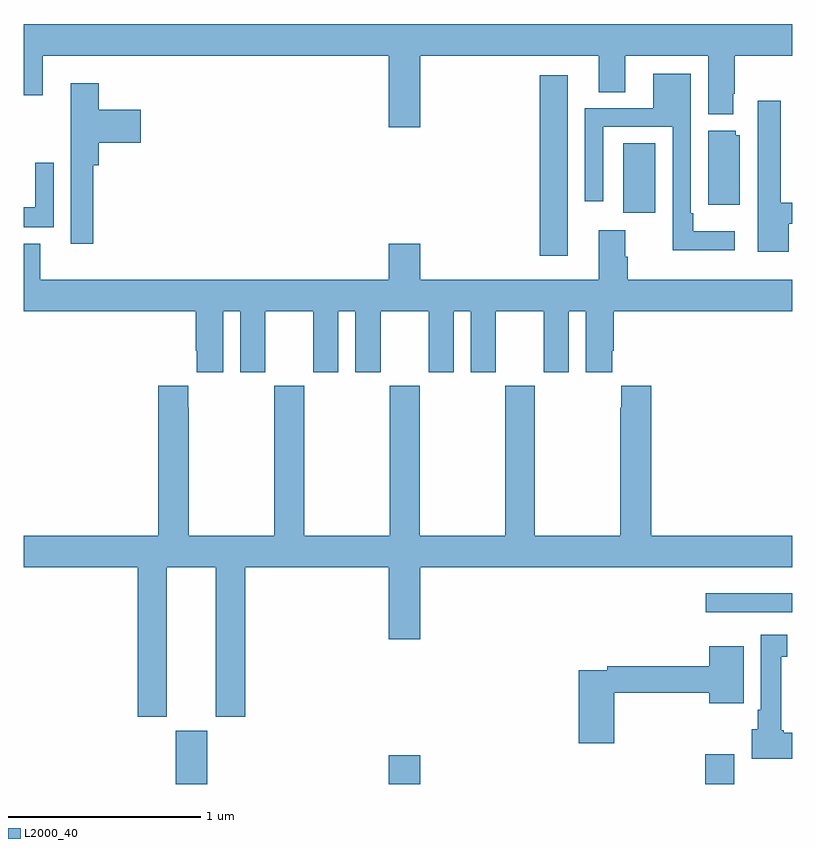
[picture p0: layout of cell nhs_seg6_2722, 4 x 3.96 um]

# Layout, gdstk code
import gdstk
lib = gdstk.Library(unit=1e-6, precision=1e-09)
def R(c, l, rs):  # rectangles x0, y0, x1, y1
    for r in rs: c.add(gdstk.rectangle(r[:2], r[2:], *l))
def P(c, l, *ps):  # polygons
    for p in ps: c.add(gdstk.Polygon(p, *l))
L2000_40 = (2000, 40)

nhs_seg6_2722 = lib.new_cell('nhs_seg6_2722')
R(nhs_seg6_2722, L2000_40, [(271.79,987.5,271.954,987.777), (272.9,987.5,273.064,987.649), (274.547,987.5,274.699,987.655), (274.551,988.395,275,988.492), (273.686,990.249,273.832,991.189), (274.121,990.474,274.288,990.836)])
P(nhs_seg6_2722, L2000_40, [(273.064,991.292),(273.992,991.292),(273.992,991.102),(274.132,991.102),(274.132,991.292),(274.562,991.292),(274.562,990.986),(274.693,990.986),(274.693,991.093),(274.701,991.093),(274.701,991.292),(275,991.292),(275,991.456),(271,991.456),(271,991.084),(271.1,991.084),(271.1,991.292),(272.9,991.292),(272.9,990.918),(273.064,990.918)],
  [(274.702,990.376),(274.486,990.376),(274.486,990.472),(274.473,990.472),(274.473,991.198),(274.277,991.198),(274.277,991.017),(273.921,991.017),(273.921,990.534),(274.017,990.534),(274.017,990.921),(274.377,990.921),(274.377,990.278),(274.702,990.278)],
  [(271.361,990.722),(271.391,990.722),(271.391,990.839),(271.609,990.839),(271.609,991.009),(271.391,991.009),(271.391,991.147),(271.244,991.147),(271.244,990.855),(271.245,990.855),(271.245,990.312),(271.361,990.312)],
  [(274.981,990.417),(275,990.417),(275,990.525),(274.939,990.525),(274.939,991.057),(274.82,991.057),(274.82,990.27),(274.981,990.27)],
  [(274.726,990.876),(274.707,990.876),(274.707,990.901),(274.562,990.901),(274.562,990.515),(274.726,990.515)],
  [(271.155,990.733),(271.059,990.733),(271.059,990.502),(271,990.502),(271,990.398),(271.155,990.398)],
  [(272.038,989.96),(272.126,989.96),(272.126,989.643),(272.257,989.643),(272.257,989.96),(272.507,989.96),(272.507,989.643),(272.638,989.643),(272.638,989.96),(272.726,989.96),(272.726,989.643),(272.857,989.643),(272.857,989.96),(273.107,989.96),(273.107,989.643),(273.238,989.643),(273.238,989.96),(273.326,989.96),(273.326,989.643),(273.457,989.643),(273.457,989.96),(273.707,989.96),(273.707,989.643),(273.838,989.643),(273.838,989.96),(273.926,989.96),(273.926,989.643),(274.063,989.643),(274.063,989.755),(274.07,989.755),(274.07,989.96),(275,989.96),(275,990.124),(274.145,990.124),(274.145,990.245),(274.132,990.245),(274.132,990.382),(273.992,990.382),(273.992,990.124),(273.064,990.124),(273.064,990.313),(272.9,990.313),(272.9,990.124),(271.087,990.124),(271.087,990.313),(271,990.313),(271,989.96),(271.895,989.96),(271.895,989.755),(271.901,989.755),(271.901,989.643),(272.038,989.643)],
  [(271.744,988.628),(272,988.628),(272,987.849),(272.153,987.849),(272.153,988.628),(272.9,988.628),(272.9,988.254),(273.064,988.254),(273.064,988.628),(275,988.628),(275,988.792),(274.265,988.792),(274.265,989.572),(274.109,989.572),(274.109,989.459),(274.105,989.459),(274.105,988.792),(273.66,988.792),(273.66,989.572),(273.505,989.572),(273.505,988.792),(273.06,988.792),(273.06,989.572),(272.905,989.572),(272.905,988.792),(272.46,988.792),(272.46,989.572),(272.305,989.572),(272.305,988.792),(271.86,988.792),(271.86,989.459),(271.855,989.459),(271.855,989.572),(271.7,989.572),(271.7,988.792),(271,988.792),(271,988.628),(271.592,988.628),(271.592,987.849),(271.744,987.849)],
  [(275,987.766),(274.956,987.766),(274.956,987.78),(274.942,987.78),(274.942,988.163),(274.975,988.163),(274.975,988.276),(274.835,988.276),(274.835,987.886),(274.82,987.886),(274.82,987.786),(274.79,987.786),(274.79,987.632),(275,987.632)],
  [(274.073,987.976),(274.568,987.976),(274.568,987.92),(274.747,987.92),(274.747,988.216),(274.568,988.216),(274.568,988.112),(274.036,988.112),(274.036,988.092),(273.89,988.092),(273.89,987.711),(274.073,987.711)])

lib.write_gds('nhs_seg6_2722.gds')
